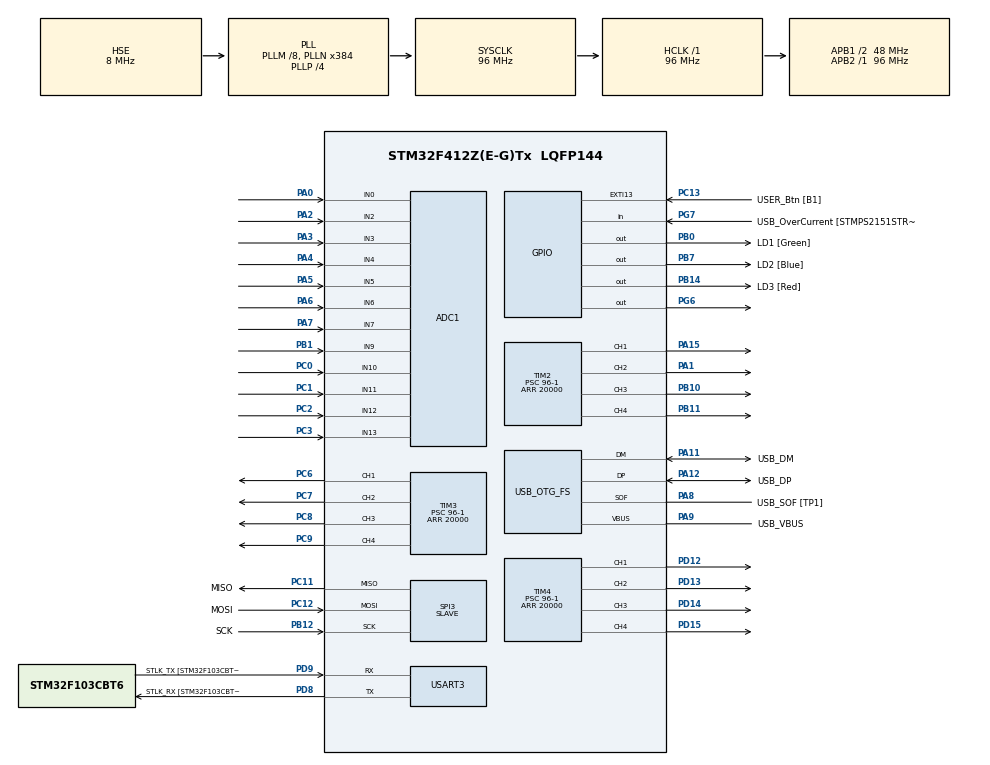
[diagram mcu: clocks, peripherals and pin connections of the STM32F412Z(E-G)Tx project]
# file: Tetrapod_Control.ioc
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ADC1.Channel-0\#ChannelRegularConversion=ADC_CHANNEL_0
ADC1.Channel-1\#ChannelRegularConversion=ADC_CHANNEL_2
ADC1.Channel-10\#ChannelRegularConversion=ADC_CHANNEL_12
ADC1.Channel-11\#ChannelRegularConversion=ADC_CHANNEL_13
ADC1.Channel-2\#ChannelRegularConversion=ADC_CHANNEL_3
ADC1.Channel-3\#ChannelRegularConversion=ADC_CHANNEL_4
ADC1.Channel-4\#ChannelRegularConversion=ADC_CHANNEL_5
ADC1.Channel-5\#ChannelRegularConversion=ADC_CHANNEL_6
ADC1.Channel-6\#ChannelRegularConversion=ADC_CHANNEL_7
ADC1.Channel-7\#ChannelRegularConversion=ADC_CHANNEL_9
ADC1.Channel-8\#ChannelRegularConversion=ADC_CHANNEL_10
ADC1.Channel-9\#ChannelRegularConversion=ADC_CHANNEL_11
ADC1.ContinuousConvMode=ENABLE
ADC1.DiscontinuousConvMode=DISABLE
ADC1.EOCSelection=ADC_EOC_SINGLE_CONV
ADC1.NbrOfConversion=12
ADC1.NbrOfConversionFlag=1
ADC1.Rank-0\#ChannelRegularConversion=1
ADC1.Rank-1\#ChannelRegularConversion=2
ADC1.Rank-10\#ChannelRegularConversion=11
ADC1.Rank-11\#ChannelRegularConversion=12
ADC1.Rank-2\#ChannelRegularConversion=3
ADC1.Rank-3\#ChannelRegularConversion=4
ADC1.Rank-4\#ChannelRegularConversion=5
ADC1.Rank-5\#ChannelRegularConversion=6
ADC1.Rank-6\#ChannelRegularConversion=7
ADC1.Rank-7\#ChannelRegularConversion=8
ADC1.Rank-8\#ChannelRegularConversion=9
ADC1.Rank-9\#ChannelRegularConversion=10
ADC1.SamplingTime-0\#ChannelRegularConversion=ADC_SAMPLETIME_3CYCLES
ADC1.SamplingTime-1\#ChannelRegularConversion=ADC_SAMPLETIME_3CYCLES
ADC1.SamplingTime-10\#ChannelRegularConversion=ADC_SAMPLETIME_3CYCLES
ADC1.SamplingTime-11\#ChannelRegularConversion=ADC_SAMPLETIME_3CYCLES
ADC1.SamplingTime-2\#ChannelRegularConversion=ADC_SAMPLETIME_3CYCLES
ADC1.SamplingTime-3\#ChannelRegularConversion=ADC_SAMPLETIME_3CYCLES
ADC1.SamplingTime-4\#ChannelRegularConversion=ADC_SAMPLETIME_3CYCLES
ADC1.SamplingTime-5\#ChannelRegularConversion=ADC_SAMPLETIME_3CYCLES
ADC1.SamplingTime-6\#ChannelRegularConversion=ADC_SAMPLETIME_3CYCLES
ADC1.SamplingTime-7\#ChannelRegularConversion=ADC_SAMPLETIME_3CYCLES
ADC1.SamplingTime-8\#ChannelRegularConversion=ADC_SAMPLETIME_3CYCLES
ADC1.SamplingTime-9\#ChannelRegularConversion=ADC_SAMPLETIME_3CYCLES
ADC1.ScanConvMode=ENABLE
ADC1.master=1
Mcu.Family=STM32F4
Mcu.Name=STM32F412Z(E-G)Tx
Mcu.Package=LQFP144
NVIC.ADC_IRQn=true\:0\:0\:false\:false\:true\:true\:true\:true
NVIC.EXTI15_10_IRQn=true\:0\:0\:false\:false\:true\:true\:true\:true
NVIC.PriorityGroup=NVIC_PRIORITYGROUP_4
PA0.Signal=ADCx_IN0
PA1.Signal=S_TIM2_CH2
PA10.GPIO_Label=USB_ID
PA10.Signal=USB_OTG_FS_ID
PA11.GPIO_Label=USB_DM
PA11.Mode=Device_Only
PA11.Signal=USB_OTG_FS_DM
PA12.GPIO_Label=USB_DP
PA12.Mode=Device_Only
PA12.Signal=USB_OTG_FS_DP
PA13.GPIO_Label=TMS
PA13.Mode=Serial_Wire
PA13.Signal=SYS_JTMS-SWDIO
PA14.GPIO_Label=TCK
PA14.Mode=Serial_Wire
PA14.Signal=SYS_JTCK-SWCLK
PA15.Signal=S_TIM2_CH1_ETR
PA2.Signal=ADCx_IN2
PA3.Signal=ADCx_IN3
PA4.Signal=ADCx_IN4
PA5.Signal=ADCx_IN5
PA6.Signal=ADCx_IN6
PA7.Signal=ADCx_IN7
PA8.GPIO_Label=USB_SOF [TP1]
PA8.Mode=Activate_SOF_FS
PA8.Signal=USB_OTG_FS_SOF
PA9.GPIO_Label=USB_VBUS
PA9.Mode=Activate_VBUS
PA9.Signal=USB_OTG_FS_VBUS
PB0.GPIO_Label=LD1 [Green]
PB0.Signal=GPIO_Output
PB1.Signal=ADCx_IN9
PB10.Signal=S_TIM2_CH3
PB11.Signal=S_TIM2_CH4
PB12.GPIO_Label=SCK
PB12.Mode=Full_Duplex_Slave
PB12.Signal=SPI3_SCK
PB14.GPIO_Label=LD3 [Red]
PB14.Signal=GPIO_Output
PB3.GPIO_Label=SWO
PB3.Signal=SYS_JTDO-SWO
PB7.GPIO_Label=LD2 [Blue]
PB7.Signal=GPIO_Output
PC0.Signal=ADCx_IN10
PC1.Signal=ADCx_IN11
PC11.GPIO_Label=MISO
PC11.Mode=Full_Duplex_Slave
PC11.Signal=SPI3_MISO
PC12.GPIO_Label=MOSI
PC12.Mode=Full_Duplex_Slave
PC12.Signal=SPI3_MOSI
PC13.GPIO_Label=USER_Btn [B1]
PC13.Signal=GPXTI13
PC14-OSC32_IN.Mode=LSE-External-Oscillator
PC14-OSC32_IN.Signal=RCC_OSC32_IN
PC15-OSC32_OUT.Mode=LSE-External-Oscillator
PC15-OSC32_OUT.Signal=RCC_OSC32_OUT
PC2.Signal=ADCx_IN12
PC3.Signal=ADCx_IN13
PC6.Signal=S_TIM3_CH1
PC7.Signal=S_TIM3_CH2
PC8.Signal=S_TIM3_CH3
PC9.Signal=S_TIM3_CH4
PD12.Signal=S_TIM4_CH1
PD13.Signal=S_TIM4_CH2
PD14.Signal=S_TIM4_CH3
PD15.Signal=S_TIM4_CH4
PD8.GPIO_Label=STLK_RX [STM32F103CBT6_PA3]
PD8.Mode=Asynchronous
PD8.Signal=USART3_TX
PD9.GPIO_Label=STLK_TX [STM32F103CBT6_PA2]
PD9.Mode=Asynchronous
PD9.Signal=USART3_RX
PG6.Signal=GPIO_Output
PG7.GPIO_Label=USB_OverCurrent [STMPS2151STR_FAULT]
PG7.Signal=GPIO_Input
PH0\ -\ OSC_IN.GPIO_Label=MCO
PH0\ -\ OSC_IN.Mode=HSE-External-Clock-Source
PH0\ -\ OSC_IN.Signal=RCC_OSC_IN
PH1\ -\ OSC_OUT.Mode=HSE-External-Clock-Source
PH1\ -\ OSC_OUT.Signal=RCC_OSC_OUT
ProjectManager.HeapSize=0x200
ProjectManager.StackSize=0x400
ProjectManager.TargetToolchain=STM32CubeIDE
RCC.48MHZClocksFreq_Value=24000000
RCC.AHBFreq_Value=96000000
RCC.APB1CLKDivider=RCC_HCLK_DIV2
RCC.APB1Freq_Value=48000000
RCC.APB1TimFreq_Value=96000000
RCC.APB2Freq_Value=96000000
RCC.APB2TimFreq_Value=96000000
RCC.CortexFreq_Value=96000000
RCC.HCLKFreq_Value=96000000
RCC.HSE_VALUE=8000000
RCC.HSI_VALUE=16000000
RCC.PLLM=8
RCC.PLLMUL=RCC_PLL_MUL9
RCC.PLLN=384
RCC.PLLP=RCC_PLLP_DIV4
RCC.PLLQ=8
RCC.PRESCALERUSB=RCC_USBCLKSOURCE_PLL_DIV1_5
RCC.SYSCLKFreq_VALUE=96000000
RCC.SYSCLKSource=RCC_SYSCLKSOURCE_PLLCLK
RCC.SYSCLKSourceVirtual=RCC_SYSCLKSOURCE_PLLCLK
RCC.USBFreq_Value=48000000
RCC.VCOOutputFreq_Value=384000000
SH.ADCx_IN0.0=ADC1_IN0,IN0
SH.ADCx_IN10.0=ADC1_IN10,IN10
SH.ADCx_IN11.0=ADC1_IN11,IN11
SH.ADCx_IN12.0=ADC1_IN12,IN12
SH.ADCx_IN13.0=ADC1_IN13,IN13
SH.ADCx_IN2.0=ADC1_IN2,IN2
SH.ADCx_IN3.0=ADC1_IN3,IN3
SH.ADCx_IN4.0=ADC1_IN4,IN4
SH.ADCx_IN5.0=ADC1_IN5,IN5
SH.ADCx_IN6.0=ADC1_IN6,IN6
SH.ADCx_IN7.0=ADC1_IN7,IN7
SH.ADCx_IN9.0=ADC1_IN9,IN9
SH.S_TIM2_CH1_ETR.0=TIM2_CH1,PWM Generation1 CH1
SH.S_TIM2_CH2.0=TIM2_CH2,PWM Generation2 CH2
SH.S_TIM2_CH3.0=TIM2_CH3,PWM Generation3 CH3
SH.S_TIM2_CH4.0=TIM2_CH4,PWM Generation4 CH4
SH.S_TIM3_CH1.0=TIM3_CH1,PWM Generation1 CH1
SH.S_TIM3_CH2.0=TIM3_CH2,PWM Generation2 CH2
SH.S_TIM3_CH3.0=TIM3_CH3,PWM Generation3 CH3
SH.S_TIM3_CH4.0=TIM3_CH4,PWM Generation4 CH4
SH.S_TIM4_CH1.0=TIM4_CH1,PWM Generation1 CH1
SH.S_TIM4_CH2.0=TIM4_CH2,PWM Generation2 CH2
SH.S_TIM4_CH3.0=TIM4_CH3,PWM Generation3 CH3
SH.S_TIM4_CH4.0=TIM4_CH4,PWM Generation4 CH4
SPI3.Direction=SPI_DIRECTION_2LINES
SPI3.Mode=SPI_MODE_SLAVE
SPI3.VirtualType=VM_SLAVE
TIM2.AutoReloadPreload=TIM_AUTORELOAD_PRELOAD_DISABLE
TIM2.Channel-PWM\ Generation1\ CH1=TIM_CHANNEL_1
TIM2.Channel-PWM\ Generation2\ CH2=TIM_CHANNEL_2
TIM2.Channel-PWM\ Generation3\ CH3=TIM_CHANNEL_3
TIM2.Channel-PWM\ Generation4\ CH4=TIM_CHANNEL_4
TIM2.OCMode_PWM-PWM\ Generation1\ CH1=TIM_OCMODE_PWM1
TIM2.Period=20000
TIM2.Prescaler=96-1
TIM2.Pulse-PWM\ Generation1\ CH1=0
TIM2.Pulse-PWM\ Generation2\ CH2=10000
TIM2.Pulse-PWM\ Generation3\ CH3=10000
TIM2.Pulse-PWM\ Generation4\ CH4=10000
TIM3.Channel-PWM\ Generation1\ CH1=TIM_CHANNEL_1
TIM3.Channel-PWM\ Generation2\ CH2=TIM_CHANNEL_2
TIM3.Channel-PWM\ Generation3\ CH3=TIM_CHANNEL_3
TIM3.Channel-PWM\ Generation4\ CH4=TIM_CHANNEL_4
TIM3.Period=20000
TIM3.Prescaler=96-1
TIM3.Pulse-PWM\ Generation1\ CH1=10000
TIM3.Pulse-PWM\ Generation2\ CH2=10000
TIM3.Pulse-PWM\ Generation3\ CH3=10000
TIM3.Pulse-PWM\ Generation4\ CH4=10000
TIM4.Channel-PWM\ Generation1\ CH1=TIM_CHANNEL_1
TIM4.Channel-PWM\ Generation2\ CH2=TIM_CHANNEL_2
TIM4.Channel-PWM\ Generation3\ CH3=TIM_CHANNEL_3
TIM4.Channel-PWM\ Generation4\ CH4=TIM_CHANNEL_4
TIM4.Period=20000
TIM4.Prescaler=96-1
TIM4.Pulse-PWM\ Generation1\ CH1=10000
TIM4.Pulse-PWM\ Generation2\ CH2=10000
TIM4.Pulse-PWM\ Generation3\ CH3=10000
TIM4.Pulse-PWM\ Generation4\ CH4=10000
USART3.VirtualMode=VM_ASYNC
USB_OTG_FS.VirtualMode=Device_Only
VP_TIM2_VS_ClockSourceINT.Mode=Internal
VP_TIM3_VS_ClockSourceINT.Mode=Internal
VP_TIM4_VS_ClockSourceINT.Mode=Internal
board=NUCLEO-F412ZG

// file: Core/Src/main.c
/* USER CODE BEGIN Header */
/**
  ******************************************************************************
  * @file           : main.c
  * @brief          : Main program body
  ******************************************************************************
  * @attention
  *
  * Copyright (c) 2024 STMicroelectronics.
  * All rights reserved.
  *
  * This software is licensed under terms that can be found in the LICENSE file
  * in the root directory of this software component.
  * If no LICENSE file comes with this software, it is provided AS-IS.
  *
  ******************************************************************************
  */
/* USER CODE END Header */
#include "main.h"

ADC_HandleTypeDef hadc1;

SPI_HandleTypeDef hspi3;

TIM_HandleTypeDef htim2;
TIM_HandleTypeDef htim3;
TIM_HandleTypeDef htim4;

UART_HandleTypeDef huart3;

PCD_HandleTypeDef hpcd_USB_OTG_FS;

void SystemClock_Config(void);
static void MX_GPIO_Init(void);
static void MX_USART3_UART_Init(void);
static void MX_USB_OTG_FS_PCD_Init(void);
static void MX_ADC1_Init(void);
static void MX_SPI3_Init(void);
static void MX_TIM2_Init(void);
static void MX_TIM3_Init(void);
static void MX_TIM4_Init(void);
/* USER CODE BEGIN PFP */
void HAL_ADC_ConvCpltCallback(ADC_HandleTypeDef* hadc);

/* USER CODE END PFP */

int main(void)
{

  /* MCU Configuration--------------------------------------------------------*/

  /* Reset of all peripherals, Initializes the Flash interface and the Systick. */
  HAL_Init();

  /* Configure the system clock */
  SystemClock_Config();

  /* Initialize all configured peripherals */
  MX_GPIO_Init();
  MX_USART3_UART_Init();
  MX_USB_OTG_FS_PCD_Init();
  MX_ADC1_Init();
  MX_SPI3_Init();
  MX_TIM2_Init();
  MX_TIM3_Init();
  MX_TIM4_Init();
  /* USER CODE BEGIN 2 */
  HAL_TIM_Base_Start(&htim2);
  HAL_TIM_PWM_Start(&htim2,TIM_CHANNEL_1);
  HAL_TIM_PWM_Start(&htim2,TIM_CHANNEL_2);
  HAL_TIM_PWM_Start(&htim2,TIM_CHANNEL_3);
  HAL_TIM_PWM_Start(&htim2,TIM_CHANNEL_4);

  HAL_TIM_Base_Start(&htim3);
  HAL_TIM_PWM_Start(&htim3,TIM_CHANNEL_1);
  HAL_TIM_PWM_Start(&htim3,TIM_CHANNEL_2);
  HAL_TIM_PWM_Start(&htim3,TIM_CHANNEL_3);
  HAL_TIM_PWM_Start(&htim3,TIM_CHANNEL_4);

  HAL_TIM_Base_Start(&htim4);
  HAL_TIM_PWM_Start(&htim4,TIM_CHANNEL_1);
  HAL_TIM_PWM_Start(&htim4,TIM_CHANNEL_2);
  HAL_TIM_PWM_Start(&htim4,TIM_CHANNEL_3);
  HAL_TIM_PWM_Start(&htim4,TIM_CHANNEL_4);

  HAL_ADC_Start_IT(&hadc1);

  /* USER CODE END 2 */

  /* Infinite loop */
  while (1)
  {

  }
}

void SystemClock_Config(void)
{
  RCC_OscInitTypeDef RCC_OscInitStruct = {0};
  RCC_ClkInitTypeDef RCC_ClkInitStruct = {0};

  /** Configure the main internal regulator output voltage
  */
  __HAL_RCC_PWR_CLK_ENABLE();
  __HAL_PWR_VOLTAGESCALING_CONFIG(PWR_REGULATOR_VOLTAGE_SCALE1);

  /** Initializes the RCC Oscillators according to the specified parameters
  * in the RCC_OscInitTypeDef structure.
  */
  RCC_OscInitStruct.OscillatorType = RCC_OSCILLATORTYPE_HSE;
  RCC_OscInitStruct.HSEState = RCC_HSE_BYPASS;
  RCC_OscInitStruct.PLL.PLLState = RCC_PLL_ON;
  RCC_OscInitStruct.PLL.PLLSource = RCC_PLLSOURCE_HSE;
  RCC_OscInitStruct.PLL.PLLM = 8;
  RCC_OscInitStruct.PLL.PLLN = 384;
  RCC_OscInitStruct.PLL.PLLP = RCC_PLLP_DIV4;
  RCC_OscInitStruct.PLL.PLLQ = 8;
  RCC_OscInitStruct.PLL.PLLR = 2;
  if (HAL_RCC_OscConfig(&RCC_OscInitStruct) != HAL_OK)
  {
    Error_Handler();
  }

  /** Initializes the CPU, AHB and APB buses clocks
  */
  RCC_ClkInitStruct.ClockType = RCC_CLOCKTYPE_HCLK|RCC_CLOCKTYPE_SYSCLK
                              |RCC_CLOCKTYPE_PCLK1|RCC_CLOCKTYPE_PCLK2;
  RCC_ClkInitStruct.SYSCLKSource = RCC_SYSCLKSOURCE_PLLCLK;
  RCC_ClkInitStruct.AHBCLKDivider = RCC_SYSCLK_DIV1;
  RCC_ClkInitStruct.APB1CLKDivider = RCC_HCLK_DIV2;
  RCC_ClkInitStruct.APB2CLKDivider = RCC_HCLK_DIV1;

  if (HAL_RCC_ClockConfig(&RCC_ClkInitStruct, FLASH_LATENCY_3) != HAL_OK)
  {
    Error_Handler();
  }
}

static void MX_ADC1_Init(void)
{

  ADC_ChannelConfTypeDef sConfig = {0};

  /** Configure the global features of the ADC (Clock, Resolution, Data Alignment and number of conversion)
  */
  hadc1.Instance = ADC1;
  hadc1.Init.ClockPrescaler = ADC_CLOCK_SYNC_PCLK_DIV4;
  hadc1.Init.Resolution = ADC_RESOLUTION_12B;
  hadc1.Init.ScanConvMode = ENABLE;
  hadc1.Init.ContinuousConvMode = ENABLE;
  hadc1.Init.DiscontinuousConvMode = DISABLE;
  hadc1.Init.ExternalTrigConvEdge = ADC_EXTERNALTRIGCONVEDGE_NONE;
  hadc1.Init.ExternalTrigConv = ADC_SOFTWARE_START;
  hadc1.Init.DataAlign = ADC_DATAALIGN_RIGHT;
  hadc1.Init.NbrOfConversion = 12;
  hadc1.Init.DMAContinuousRequests = DISABLE;
  hadc1.Init.EOCSelection = ADC_EOC_SINGLE_CONV;
  if (HAL_ADC_Init(&hadc1) != HAL_OK)
  {
    Error_Handler();
  }

  /** Configure for the selected ADC regular channel its corresponding rank in the sequencer and its sample time.
  */
  sConfig.Channel = ADC_CHANNEL_0;
  sConfig.Rank = 1;
  sConfig.SamplingTime = ADC_SAMPLETIME_3CYCLES;
  if (HAL_ADC_ConfigChannel(&hadc1, &sConfig) != HAL_OK)
  {
    Error_Handler();
  }

  /** Configure for the selected ADC regular channel its corresponding rank in the sequencer and its sample time.
  */
  sConfig.Channel = ADC_CHANNEL_2;
  sConfig.Rank = 2;
  if (HAL_ADC_ConfigChannel(&hadc1, &sConfig) != HAL_OK)
  {
    Error_Handler();
  }

  /** Configure for the selected ADC regular channel its corresponding rank in the sequencer and its sample time.
  */
  sConfig.Channel = ADC_CHANNEL_3;
  sConfig.Rank = 3;
  if (HAL_ADC_ConfigChannel(&hadc1, &sConfig) != HAL_OK)
  {
    Error_Handler();
  }

  /** Configure for the selected ADC regular channel its corresponding rank in the sequencer and its sample time.
  */
  sConfig.Channel = ADC_CHANNEL_4;
  sConfig.Rank = 4;
  if (HAL_ADC_ConfigChannel(&hadc1, &sConfig) != HAL_OK)
  {
    Error_Handler();
  }

  /** Configure for the selected ADC regular channel its corresponding rank in the sequencer and its sample time.
  */
  sConfig.Channel = ADC_CHANNEL_5;
  sConfig.Rank = 5;
  if (HAL_ADC_ConfigChannel(&hadc1, &sConfig) != HAL_OK)
  {
    Error_Handler();
  }

  /** Configure for the selected ADC regular channel its corresponding rank in the sequencer and its sample time.
  */
  sConfig.Channel = ADC_CHANNEL_6;
  sConfig.Rank = 6;
  if (HAL_ADC_ConfigChannel(&hadc1, &sConfig) != HAL_OK)
  {
    Error_Handler();
  }

  /** Configure for the selected ADC regular channel its corresponding rank in the sequencer and its sample time.
  */
  sConfig.Channel = ADC_CHANNEL_7;
  sConfig.Rank = 7;
  if (HAL_ADC_ConfigChannel(&hadc1, &sConfig) != HAL_OK)
  {
    Error_Handler();
  }

  /** Configure for the selected ADC regular channel its corresponding rank in the sequencer and its sample time.
  */
  sConfig.Channel = ADC_CHANNEL_9;
  sConfig.Rank = 8;
  if (HAL_ADC_ConfigChannel(&hadc1, &sConfig) != HAL_OK)
  {
    Error_Handler();
  }

  /** Configure for the selected ADC regular channel its corresponding rank in the sequencer and its sample time.
  */
  sConfig.Channel = ADC_CHANNEL_10;
  sConfig.Rank = 9;
  if (HAL_ADC_ConfigChannel(&hadc1, &sConfig) != HAL_OK)
  {
    Error_Handler();
  }

  /** Configure for the selected ADC regular channel its corresponding rank in the sequencer and its sample time.
  */
  sConfig.Channel = ADC_CHANNEL_11;
  sConfig.Rank = 10;
  if (HAL_ADC_ConfigChannel(&hadc1, &sConfig) != HAL_OK)
  {
    Error_Handler();
  }

  /** Configure for the selected ADC regular channel its corresponding rank in the sequencer and its sample time.
  */
  sConfig.Channel = ADC_CHANNEL_12;
  sConfig.Rank = 11;
  if (HAL_ADC_ConfigChannel(&hadc1, &sConfig) != HAL_OK)
  {
    Error_Handler();
  }

  /** Configure for the selected ADC regular channel its corresponding rank in the sequencer and its sample time.
  */
  sConfig.Channel = ADC_CHANNEL_13;
  sConfig.Rank = 12;
  if (HAL_ADC_ConfigChannel(&hadc1, &sConfig) != HAL_OK)
  {
    Error_Handler();
  }

}

static void MX_SPI3_Init(void)
{

  /* SPI3 parameter configuration*/
  hspi3.Instance = SPI3;
  hspi3.Init.Mode = SPI_MODE_SLAVE;
  hspi3.Init.Direction = SPI_DIRECTION_2LINES;
  hspi3.Init.DataSize = SPI_DATASIZE_8BIT;
  hspi3.Init.CLKPolarity = SPI_POLARITY_LOW;
  hspi3.Init.CLKPhase = SPI_PHASE_1EDGE;
  hspi3.Init.NSS = SPI_NSS_SOFT;
  hspi3.Init.FirstBit = SPI_FIRSTBIT_MSB;
  hspi3.Init.TIMode = SPI_TIMODE_DISABLE;
  hspi3.Init.CRCCalculation = SPI_CRCCALCULATION_DISABLE;
  hspi3.Init.CRCPolynomial = 10;
  if (HAL_SPI_Init(&hspi3) != HAL_OK)
  {
    Error_Handler();
  }

}

static void MX_TIM2_Init(void)
{

  TIM_ClockConfigTypeDef sClockSourceConfig = {0};
  TIM_MasterConfigTypeDef sMasterConfig = {0};
  TIM_OC_InitTypeDef sConfigOC = {0};

  htim2.Instance = TIM2;
  htim2.Init.Prescaler = 96-1;
  htim2.Init.CounterMode = TIM_COUNTERMODE_UP;
  htim2.Init.Period = 20000;
  htim2.Init.ClockDivision = TIM_CLOCKDIVISION_DIV1;
  htim2.Init.AutoReloadPreload = TIM_AUTORELOAD_PRELOAD_DISABLE;
  if (HAL_TIM_Base_Init(&htim2) != HAL_OK)
  {
    Error_Handler();
  }
  sClockSourceConfig.ClockSource = TIM_CLOCKSOURCE_INTERNAL;
  if (HAL_TIM_ConfigClockSource(&htim2, &sClockSourceConfig) != HAL_OK)
  {
    Error_Handler();
  }
  if (HAL_TIM_PWM_Init(&htim2) != HAL_OK)
  {
    Error_Handler();
  }
  sMasterConfig.MasterOutputTrigger = TIM_TRGO_RESET;
  sMasterConfig.MasterSlaveMode = TIM_MASTERSLAVEMODE_DISABLE;
  if (HAL_TIMEx_MasterConfigSynchronization(&htim2, &sMasterConfig) != HAL_OK)
  {
    Error_Handler();
  }
  sConfigOC.OCMode = TIM_OCMODE_PWM1;
  sConfigOC.Pulse = 0;
  sConfigOC.OCPolarity = TIM_OCPOLARITY_HIGH;
  sConfigOC.OCFastMode = TIM_OCFAST_DISABLE;
  if (HAL_TIM_PWM_ConfigChannel(&htim2, &sConfigOC, TIM_CHANNEL_1) != HAL_OK)
  {
    Error_Handler();
  }
  sConfigOC.Pulse = 10000;
  if (HAL_TIM_PWM_ConfigChannel(&htim2, &sConfigOC, TIM_CHANNEL_2) != HAL_OK)
  {
    Error_Handler();
  }
  if (HAL_TIM_PWM_ConfigChannel(&htim2, &sConfigOC, TIM_CHANNEL_3) != HAL_OK)
  {
    Error_Handler();
  }
  if (HAL_TIM_PWM_ConfigChannel(&htim2, &sConfigOC, TIM_CHANNEL_4) != HAL_OK)
  {
    Error_Handler();
  }
  HAL_TIM_MspPostInit(&htim2);

}

static void MX_TIM3_Init(void)
{

  TIM_ClockConfigTypeDef sClockSourceConfig = {0};
  TIM_MasterConfigTypeDef sMasterConfig = {0};
  TIM_OC_InitTypeDef sConfigOC = {0};

  htim3.Instance = TIM3;
  htim3.Init.Prescaler = 96-1;
  htim3.Init.CounterMode = TIM_COUNTERMODE_UP;
  htim3.Init.Period = 20000;
  htim3.Init.ClockDivision = TIM_CLOCKDIVISION_DIV1;
  htim3.Init.AutoReloadPreload = TIM_AUTORELOAD_PRELOAD_DISABLE;
  if (HAL_TIM_Base_Init(&htim3) != HAL_OK)
  {
    Error_Handler();
  }
  sClockSourceConfig.ClockSource = TIM_CLOCKSOURCE_INTERNAL;
  if (HAL_TIM_ConfigClockSource(&htim3, &sClockSourceConfig) != HAL_OK)
  {
    Error_Handler();
  }
  if (HAL_TIM_PWM_Init(&htim3) != HAL_OK)
  {
    Error_Handler();
  }
  sMasterConfig.MasterOutputTrigger = TIM_TRGO_RESET;
  sMasterConfig.MasterSlaveMode = TIM_MASTERSLAVEMODE_DISABLE;
  if (HAL_TIMEx_MasterConfigSynchronization(&htim3, &sMasterConfig) != HAL_OK)
  {
    Error_Handler();
  }
  sConfigOC.OCMode = TIM_OCMODE_PWM1;
  sConfigOC.Pulse = 10000;
  sConfigOC.OCPolarity = TIM_OCPOLARITY_HIGH;
  sConfigOC.OCFastMode = TIM_OCFAST_DISABLE;
  if (HAL_TIM_PWM_ConfigChannel(&htim3, &sConfigOC, TIM_CHANNEL_1) != HAL_OK)
  {
    Error_Handler();
  }
  if (HAL_TIM_PWM_ConfigChannel(&htim3, &sConfigOC, TIM_CHANNEL_2) != HAL_OK)
  {
    Error_Handler();
  }
  if (HAL_TIM_PWM_ConfigChannel(&htim3, &sConfigOC, TIM_CHANNEL_3) != HAL_OK)
  {
    Error_Handler();
  }
  if (HAL_TIM_PWM_ConfigChannel(&htim3, &sConfigOC, TIM_CHANNEL_4) != HAL_OK)
  {
    Error_Handler();
  }
  HAL_TIM_MspPostInit(&htim3);

}

static void MX_TIM4_Init(void)
{

  TIM_ClockConfigTypeDef sClockSourceConfig = {0};
  TIM_MasterConfigTypeDef sMasterConfig = {0};
  TIM_OC_InitTypeDef sConfigOC = {0};

  htim4.Instance = TIM4;
  htim4.Init.Prescaler = 96-1;
  htim4.Init.CounterMode = TIM_COUNTERMODE_UP;
  htim4.Init.Period = 20000;
  htim4.Init.ClockDivision = TIM_CLOCKDIVISION_DIV1;
  htim4.Init.AutoReloadPreload = TIM_AUTORELOAD_PRELOAD_DISABLE;
  if (HAL_TIM_Base_Init(&htim4) != HAL_OK)
  {
    Error_Handler();
  }
  sClockSourceConfig.ClockSource = TIM_CLOCKSOURCE_INTERNAL;
  if (HAL_TIM_ConfigClockSource(&htim4, &sClockSourceConfig) != HAL_OK)
  {
    Error_Handler();
  }
  if (HAL_TIM_PWM_Init(&htim4) != HAL_OK)
  {
    Error_Handler();
  }
  sMasterConfig.MasterOutputTrigger = TIM_TRGO_RESET;
  sMasterConfig.MasterSlaveMode = TIM_MASTERSLAVEMODE_DISABLE;
  if (HAL_TIMEx_MasterConfigSynchronization(&htim4, &sMasterConfig) != HAL_OK)
  {
    Error_Handler();
  }
  sConfigOC.OCMode = TIM_OCMODE_PWM1;
  sConfigOC.Pulse = 10000;
  sConfigOC.OCPolarity = TIM_OCPOLARITY_HIGH;
  sConfigOC.OCFastMode = TIM_OCFAST_DISABLE;
  if (HAL_TIM_PWM_ConfigChannel(&htim4, &sConfigOC, TIM_CHANNEL_1) != HAL_OK)
  {
    Error_Handler();
  }
  if (HAL_TIM_PWM_ConfigChannel(&htim4, &sConfigOC, TIM_CHANNEL_2) != HAL_OK)
  {
    Error_Handler();
  }
  if (HAL_TIM_PWM_ConfigChannel(&htim4, &sConfigOC, TIM_CHANNEL_3) != HAL_OK)
  {
    Error_Handler();
  }
  if (HAL_TIM_PWM_ConfigChannel(&htim4, &sConfigOC, TIM_CHANNEL_4) != HAL_OK)
  {
    Error_Handler();
  }
  HAL_TIM_MspPostInit(&htim4);

}

static void MX_USART3_UART_Init(void)
{

  huart3.Instance = USART3;
  huart3.Init.BaudRate = 115200;
  huart3.Init.WordLength = UART_WORDLENGTH_8B;
  huart3.Init.StopBits = UART_STOPBITS_1;
  huart3.Init.Parity = UART_PARITY_NONE;
  huart3.Init.Mode = UART_MODE_TX_RX;
  huart3.Init.HwFlowCtl = UART_HWCONTROL_NONE;
  huart3.Init.OverSampling = UART_OVERSAMPLING_16;
  if (HAL_UART_Init(&huart3) != HAL_OK)
  {
    Error_Handler();
  }

}

static void MX_USB_OTG_FS_PCD_Init(void)
{

  hpcd_USB_OTG_FS.Instance = USB_OTG_FS;
  hpcd_USB_OTG_FS.Init.dev_endpoints = 6;
  hpcd_USB_OTG_FS.Init.speed = PCD_SPEED_FULL;
  hpcd_USB_OTG_FS.Init.dma_enable = DISABLE;
  hpcd_USB_OTG_FS.Init.phy_itface = PCD_PHY_EMBEDDED;
  hpcd_USB_OTG_FS.Init.Sof_enable = ENABLE;
  hpcd_USB_OTG_FS.Init.low_power_enable = DISABLE;
  hpcd_USB_OTG_FS.Init.lpm_enable = DISABLE;
  hpcd_USB_OTG_FS.Init.battery_charging_enable = ENABLE;
  hpcd_USB_OTG_FS.Init.vbus_sensing_enable = ENABLE;
  hpcd_USB_OTG_FS.Init.use_dedicated_ep1 = DISABLE;
  if (HAL_PCD_Init(&hpcd_USB_OTG_FS) != HAL_OK)
  {
    Error_Handler();
  }

}

static void MX_GPIO_Init(void)
{
  GPIO_InitTypeDef GPIO_InitStruct = {0};

  /* GPIO Ports Clock Enable */
  __HAL_RCC_GPIOC_CLK_ENABLE();
  __HAL_RCC_GPIOH_CLK_ENABLE();
  __HAL_RCC_GPIOA_CLK_ENABLE();
  __HAL_RCC_GPIOB_CLK_ENABLE();
  __HAL_RCC_GPIOD_CLK_ENABLE();
  __HAL_RCC_GPIOG_CLK_ENABLE();

  /*Configure GPIO pin Output Level */
  HAL_GPIO_WritePin(GPIOB, LD1_Pin|LD3_Pin|LD2_Pin, GPIO_PIN_RESET);

  /*Configure GPIO pin Output Level */
  HAL_GPIO_WritePin(GPIOG, GPIO_PIN_6, GPIO_PIN_RESET);

  /*Configure GPIO pin : USER_Btn_Pin */
  GPIO_InitStruct.Pin = USER_Btn_Pin;
  GPIO_InitStruct.Mode = GPIO_MODE_IT_RISING;
  GPIO_InitStruct.Pull = GPIO_NOPULL;
  HAL_GPIO_Init(USER_Btn_GPIO_Port, &GPIO_InitStruct);

  /*Configure GPIO pins : LD1_Pin LD3_Pin LD2_Pin */
  GPIO_InitStruct.Pin = LD1_Pin|LD3_Pin|LD2_Pin;
  GPIO_InitStruct.Mode = GPIO_MODE_OUTPUT_PP;
  GPIO_InitStruct.Pull = GPIO_NOPULL;
  GPIO_InitStruct.Speed = GPIO_SPEED_FREQ_LOW;
  HAL_GPIO_Init(GPIOB, &GPIO_InitStruct);

  /*Configure GPIO pin : PG6 */
  GPIO_InitStruct.Pin = GPIO_PIN_6;
  GPIO_InitStruct.Mode = GPIO_MODE_OUTPUT_PP;
  GPIO_InitStruct.Pull = GPIO_NOPULL;
  GPIO_InitStruct.Speed = GPIO_SPEED_FREQ_LOW;
  HAL_GPIO_Init(GPIOG, &GPIO_InitStruct);

  /*Configure GPIO pin : USB_OverCurrent_Pin */
  GPIO_InitStruct.Pin = USB_OverCurrent_Pin;
  GPIO_InitStruct.Mode = GPIO_MODE_INPUT;
  GPIO_InitStruct.Pull = GPIO_NOPULL;
  HAL_GPIO_Init(USB_OverCurrent_GPIO_Port, &GPIO_InitStruct);

  /* EXTI interrupt init*/
  HAL_NVIC_SetPriority(EXTI15_10_IRQn, 0, 0);
  HAL_NVIC_EnableIRQ(EXTI15_10_IRQn);

}

/* USER CODE BEGIN 4 */

unsigned int joint_angle[12] = {0};

void HAL_ADC_ConvCpltCallback(ADC_HandleTypeDef* hadc)
{

	static unsigned char joint = 0;

	if(hadc == &hadc1)
	{
		joint_angle[joint] = HAL_ADC_GetValue(hadc);

		joint++;

		if(joint == 12) joint = 0;
	}
}

unsigned int t_on = 0;

void HAL_GPIO_EXTI_Callback(uint16_t GPIO_Pin)
{

    if(GPIO_Pin == USER_Btn_Pin)
    {
        t_on += 5000;
        if(t_on > 20000) t_on = 0;

        __HAL_TIM_SET_COMPARE(&htim2, TIM_CHANNEL_1, t_on);
    }
}

/* USER CODE END 4 */

void Error_Handler(void)
{
  __disable_irq();
  while (1)
  {
  }
}
